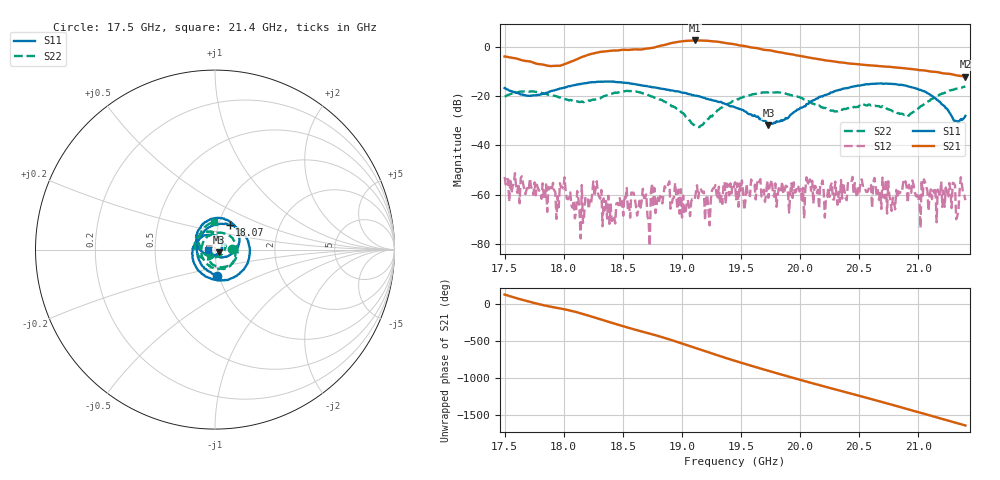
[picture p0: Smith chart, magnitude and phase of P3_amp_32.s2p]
!Created with skrf (http://scikit-rf.org).
# GHz S RI R 50.0
!freq ReS11 ImS11 ReS21 ImS21 ReS12 ImS12 ReS22 ImS22
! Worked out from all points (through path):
!   401 points, 17.5 GHz to 21.4 GHz, reference 50 ohm
!   highest |S21| = 2.45 dB at 19.11 GHz (marker M1); lowest = -12.2 dB at 21.4 GHz (marker M2)
!   group delay of S21, straight-line fit = 1.29 ns
!   lowest |S11| = -31.9 dB at 19.73 GHz (marker M3), VSWR 1.05, Z = 52.1 - j1.5 ohm
!   |S11| at or under -10 dB: start of sweep to end of sweep
!   |S22| runs from -32.6 to -16.2 dB; largest |S21 - S12| = 1.3
!   S11 on the Smith chart (normalised r, x): 17.5 GHz: 0.98, -0.29; 18.07 GHz: 1.13, +0.32; 21.4 GHz: 0.92, -0.00
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17.5  0.00906 -0.1443  -0.3909 0.4934  -0.00216 0.000832  0.0971 0.00185
17.734  -0.1023 0.00789  0.4524 0.1661  -0.00101 0.000856  0.0823 -0.0917
18.0655  0.0823 0.1388  -0.0264 -0.4948  0.000215 0.000572  -0.0746 -0.0363
18.15325  0.1417 0.105  -0.3971 -0.4664  0.00154 -0.000381  -0.0753 0.0195
18.2995  0.1952 -0.00421  -0.7153 0.284  6.11e-05 -0.000916  -0.00544 0.0876
18.46525  0.1352 -0.1357  0.1793 0.8176  -9.83e-06 0.000619  0.1114 0.0406
18.631  0.00163 -0.168  0.8697 -0.00116  2.88e-05 -0.000501  0.0873 -0.0827
18.8065  -0.1058 -0.0972  0.2315 -0.9918  -0.000615 -0.000365  -0.00944 -0.0845
18.99175  -0.1168 0.0219  -1.247 -0.2147  -0.00128 0.000268  -0.0352 -0.0326
19.10875  -0.0747 0.0695  -0.797 1.06  3.5e-05 0.000792  -0.0184 -0.018
19.1965  -0.0383 0.0825  0.2261 1.292  -0.000302 -4e-05  -0.0101 -0.0292
19.30375  0.00172 0.0768  1.146 0.5024  0.000841 0.000288  -0.0191 -0.0483
19.45  0.0341 0.048  0.6978 -0.8552  0.00181 -2.5e-05  -0.0653 -0.0504
19.55725  0.0385 0.0217  -0.2218 -0.9676  0.00102 0.000241  -0.0983 -0.0245
19.73275  0.0209 -0.0144  -0.8429 0.0679  0.000594 0.000643  -0.1029 0.0577
19.90825  -0.0199 -0.0326  -0.0523 0.7038  3.89e-05 -0.000438  -0.0366 0.1005
20.10325  -0.0799 -0.00657  0.5786 0.0717  -0.000688 -0.00181  0.0171 0.0684
20.2885  -0.1044 0.0673  0.1415 -0.4774  -0.000619 -0.000517  0.011 0.048
20.49325  -0.0547 0.1537  -0.4148 -0.1405  -0.000869 0.00106  0.0259 0.0539
20.7565  0.0844 0.1544  0.0422 0.3868  1.48e-05 0.000974  0.0528 -0.00444
21.1075  0.1023 -0.0172  0.0851 -0.2995  0.00066 -0.00111  -0.0846 0.014
21.4  -0.0397 -0.000351  -0.2201 0.109  -0.000475 -0.000624  -0.00668 0.1541
